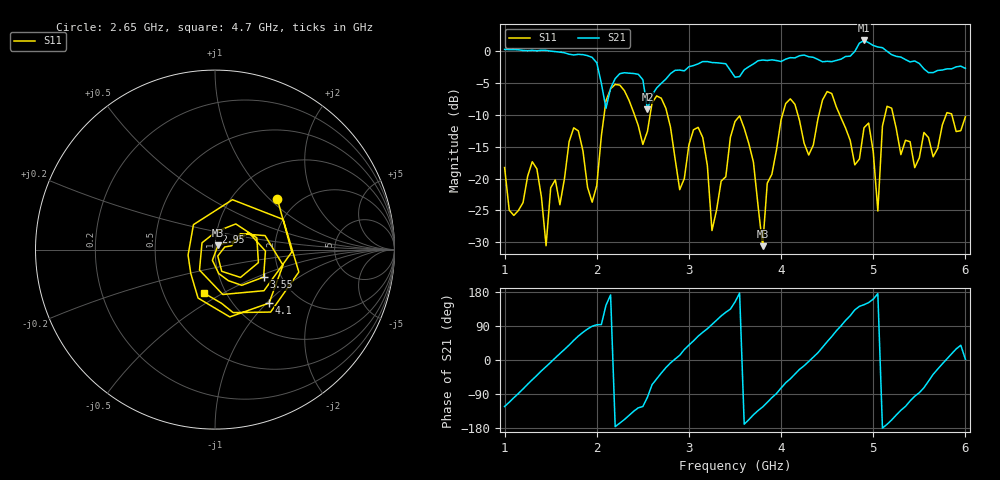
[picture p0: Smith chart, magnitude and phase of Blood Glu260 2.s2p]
! NanoVNA-App
! Date: 2024-03-21 17:47:04
! Start: 1GHz Stop: 6GHz Points: 101
! S-Parameter data: F S11 S21 S12 S22
# Hz S RI R 50
!	Frequency	S11_Real	S11_Imag	S21_Real	S21_Imag	S12_Real	S12_Imag	S22_Real	S22_Imag
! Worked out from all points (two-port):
!   101 points, 1 GHz to 6 GHz, reference 50 ohm
!   highest |S21| = 1.73 dB at 4.9 GHz (marker M1); lowest = -9.1 dB at 2.55 GHz (marker M2)
!   |S21| within 3 dB of the highest: start of sweep to 1.97 GHz; 4.636 GHz to 5.349 GHz (713 MHz wide, 14.3 % of centre)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
!   lowest |S11| = -30.6 dB at 3.8 GHz (marker M3), VSWR 1.06, Z = 51.7 + j2.48 ohm
!   |S11| at or under -10 dB: start of sweep to 2.08 GHz; 2.768 GHz to 4.015 GHz (1.247 GHz wide, 36.8 % of centre); 5.217 GHz to 5.79 GHz (573.8 MHz wide, 10.4 % of centre)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
!   S12 and S22 are empty: the file has one direction only
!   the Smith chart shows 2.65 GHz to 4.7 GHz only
!   S11 on the Smith chart (normalised r, x): 2.65 GHz: 1.59, +1.11; 2.95 GHz: 0.99, +0.20; 3.55 GHz: 1.63, -0.55; 4.1 GHz: 1.42, -1.03; 4.7 GHz: 0.79, -0.41
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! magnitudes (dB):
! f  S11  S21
! 1 GHz  -18.3  0.3
! 1.35 GHz  -18.5  0.1
! 1.45 GHz  -30.6  0.2
! 1.85 GHz  -15.6  -0.5
! 2.2 GHz  -5.2  -4.3
! 2.55 GHz  -12.6  -9.1
! 2.65 GHz  -7.0  -5.7
! 2.7 GHz  -7.4  -5.0
! 2.95 GHz  -20.0  -3.1
! 3.1 GHz  -12.0  -2.0
! 3.25 GHz  -28.2  -1.7
! 3.5 GHz  -11.0  -4.1
! 3.55 GHz  -10.1  -4.0
! 3.8 GHz  -30.6  -1.4
! 4.1 GHz  -7.5  -1.0
! 4.35 GHz  -14.7  -0.9
! 4.7 GHz  -12.1  -0.8
! 4.9 GHz  -12.0  1.7
! 5.05 GHz  -25.1  0.7
! 5.2 GHz  -8.9  -0.5
! 5.45 GHz  -18.3  -1.5
! 6 GHz  -10.3  -2.7
